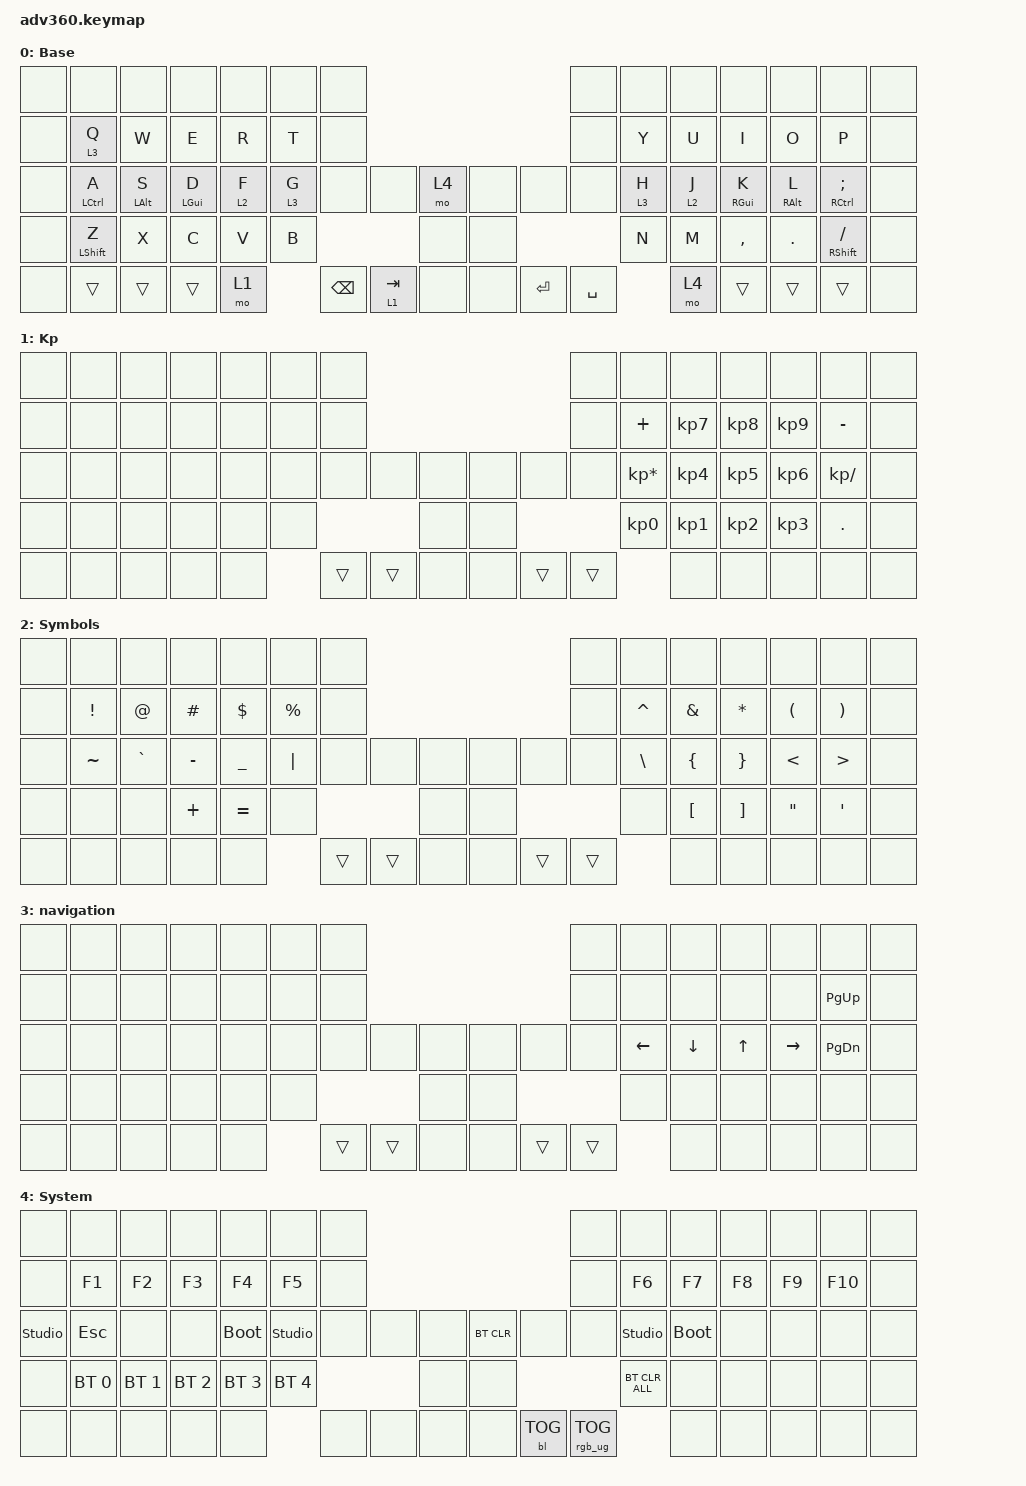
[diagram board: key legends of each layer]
#include <dt-bindings/zmk/stp.h>
#include <behaviors.dtsi>
#include <dt-bindings/zmk/backlight.h>
#include <dt-bindings/zmk/bt.h>
#include <dt-bindings/zmk/keys.h>
#include <dt-bindings/zmk/rgb.h>

/ {
    behaviors {
        #include "macros.dtsi"
      #include "version.dtsi"

        hm: homerow_mods {
            compatible = "zmk,behavior-hold-tap";
            label = "HOMEROW_MODS";
            #binding-cells = <2>;
            tapping-term-ms = <250>;
            flavor = "tap-preferred";
            bindings = <&kp>, <&kp>;

            quick-tap-ms = <175>;
            require-prior-idle-ms = <175>;
        };
    };

    combos {
        compatible = "zmk,combos";

        screen_grab_section {
            bindings = <&kp LS(LG(NUMBER_4))>;
            key-positions = <19 22>;
        };

        esc {
            bindings = <&kp ESC>;
            key-positions = <44 29>;
        };

        screen_recording {
            bindings = <&screen_recording>;
            key-positions = <33 40>;
        };
    };

    macros {
        screen_recording: screen_recording {
            compatible = "zmk,behavior-macro";
            #binding-cells = <0>;
            bindings = <&kp LS(LG(N5))>;
            label = "SCREEN_RECORDING";
        };
    };

    keymap {
        compatible = "zmk,keymap";

        Base {
            display-name = "Base";
            bindings = <
&none  &none             &none           &none           &none    &none    &none                                             &none      &none    &none    &none            &none            &none                  &none
&none  &lt 3 Q           &kp W           &kp E           &kp R    &kp T    &none                                             &none      &kp Y    &kp U    &kp I            &kp O            &kp P                  &none
&none  &hm LCTRL A       &hm LEFT_ALT S  &hm LEFT_GUI D  &lt 2 F  &lt 3 G  &none     &none      &mo 4      &none  &none      &none      &lt 3 H  &lt 2 J  &hm RIGHT_GUI K  &hm RIGHT_ALT L  &hm RCTRL SEMI         &none
&none  &mt LEFT_SHIFT Z  &kp X           &kp C           &kp V    &kp B                         &none      &none                        &kp N    &kp M    &kp COMMA        &kp DOT          &mt RIGHT_SHIFT SLASH  &none
&none  &trans            &trans          &trans          &mo 1             &kp BSPC  &lt 1 TAB  &none      &none  &kp ENTER  &kp SPACE           &mo 4    &trans           &trans           &trans                 &none
            >;
        };

        keypad {
            display-name = "Kp";
            bindings = <
&none  &none  &none  &none  &none  &none  &none                                     &none   &none            &none      &none      &none      &none          &none
&none  &none  &none  &none  &none  &none  &none                                     &none   &kp PLUS         &kp KP_N7  &kp KP_N8  &kp KP_N9  &kp MINUS      &none
&none  &none  &none  &none  &none  &none  &none   &none   &none      &none  &none   &none   &kp KP_ASTERISK  &kp KP_N4  &kp KP_N5  &kp KP_N6  &kp KP_DIVIDE  &none
&none  &none  &none  &none  &none  &none                  &none      &none                  &kp KP_NUMBER_0  &kp KP_N1  &kp KP_N2  &kp KP_N3  &kp PERIOD     &none
&none  &none  &none  &none  &none         &trans  &trans  &none      &none  &trans  &trans                   &none      &none      &none      &none          &none
            >;
        };

        Symbols {
            bindings = <
&none  &none            &none        &none      &none           &none        &none                                     &none   &none          &none             &none              &none              &none             &none
&none  &kp EXCLAMATION  &kp AT_SIGN  &kp HASH   &kp DOLLAR      &kp PERCENT  &none                                     &none   &kp CARET      &kp AMPERSAND     &kp ASTERISK       &kp LPAR           &kp RPAR          &none
&none  &kp TILDE        &kp GRAVE    &kp MINUS  &kp UNDERSCORE  &kp PIPE     &none   &none   &none      &none  &none   &none   &kp BACKSLASH  &kp LEFT_BRACE    &kp RIGHT_BRACE    &kp LESS_THAN      &kp GREATER_THAN  &none
&none  &none            &none        &kp PLUS   &kp EQUAL       &none                        &none      &none                  &none          &kp LEFT_BRACKET  &kp RIGHT_BRACKET  &kp DOUBLE_QUOTES  &kp SQT           &none
&none  &none            &none        &none      &none                        &trans  &trans  &none      &none  &trans  &trans                 &none             &none              &none              &none             &none
            >;
        };

        navigation {
            bindings = <
&none  &none  &none  &none  &none  &none  &none                                     &none   &none           &none     &none         &none      &none          &none
&none  &none  &none  &none  &none  &none  &none                                     &none   &none           &none     &none         &none      &kp PAGE_UP    &none
&none  &none  &none  &none  &none  &none  &none   &none   &none      &none  &none   &none   &kp LEFT_ARROW  &kp DOWN  &kp UP_ARROW  &kp RIGHT  &kp PAGE_DOWN  &none
&none  &none  &none  &none  &none  &none                  &none      &none                  &none           &none     &none         &none      &none          &none
&none  &none  &none  &none  &none         &trans  &trans  &none      &none  &trans  &trans                  &none     &none         &none      &none          &none
            >;
        };

        System {
            display-name = "System";
            bindings = <
&none           &none         &none         &none         &none         &none           &none                                            &none            &none           &none        &none   &none   &none    &none
&none           &kp F1        &kp F2        &kp F3        &kp F4        &kp F5          &none                                            &none            &kp F6          &kp F7       &kp F8  &kp F9  &kp F10  &none
&studio_unlock  &kp ESCAPE    &none         &none         &bootloader   &studio_unlock  &none  &none  &none      &bt BT_CLR  &none       &none            &studio_unlock  &bootloader  &none   &none   &none    &none
&none           &bt BT_SEL 0  &bt BT_SEL 1  &bt BT_SEL 2  &bt BT_SEL 3  &bt BT_SEL 4                  &none      &none                                    &bt BT_CLR_ALL  &none        &none   &none   &none    &none
&none           &none         &none         &none         &none                         &none  &none  &none      &none       &bl BL_TOG  &rgb_ug RGB_TOG                  &none        &none   &none   &none    &none
            >;
        };
    };
};
